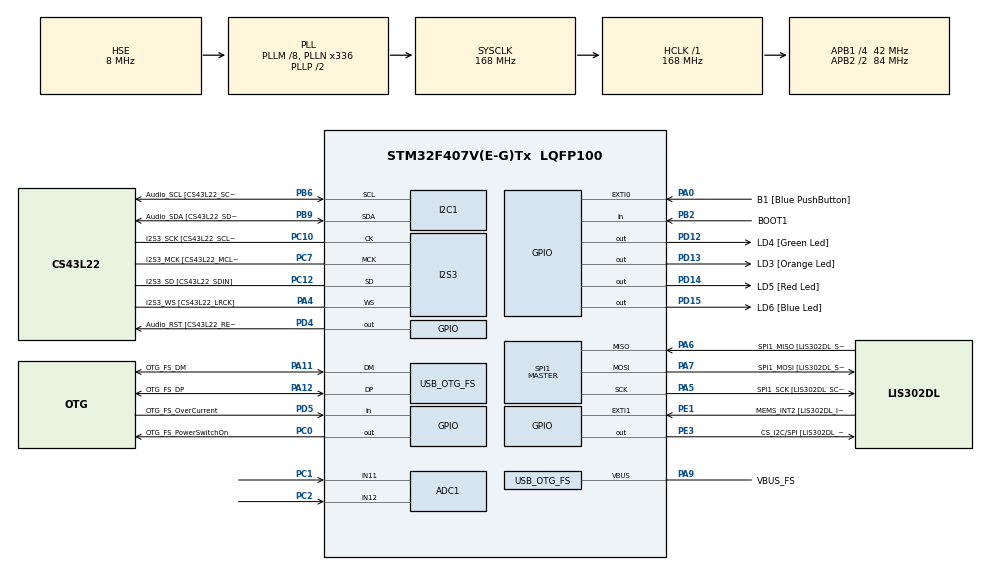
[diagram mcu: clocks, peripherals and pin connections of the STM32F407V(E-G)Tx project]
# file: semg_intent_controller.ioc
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ADC1.Channel-0\#ChannelRegularConversion=ADC_CHANNEL_11
ADC1.Channel-2\#ChannelRegularConversion=ADC_CHANNEL_12
ADC1.DMAContinuousRequests=ENABLE
ADC1.EOCSelection=ADC_EOC_SEQ_CONV
ADC1.ExternalTrigConv=ADC_EXTERNALTRIGCONV_T2_TRGO
ADC1.NbrOfConversion=2
ADC1.NbrOfConversionFlag=1
ADC1.Rank-2\#ChannelRegularConversion=2
ADC1.SamplingTime-0\#ChannelRegularConversion=ADC_SAMPLETIME_84CYCLES
ADC1.SamplingTime-2\#ChannelRegularConversion=ADC_SAMPLETIME_84CYCLES
ADC1.ScanConvMode=ENABLE
ADC1.master=1
Dma.ADC1.0.Direction=DMA_PERIPH_TO_MEMORY
Dma.ADC1.0.FIFOMode=DMA_FIFOMODE_DISABLE
Dma.ADC1.0.Instance=DMA2_Stream0
Dma.ADC1.0.MemDataAlignment=DMA_MDATAALIGN_HALFWORD
Dma.ADC1.0.MemInc=DMA_MINC_ENABLE
Dma.ADC1.0.Mode=DMA_CIRCULAR
Dma.ADC1.0.PeriphDataAlignment=DMA_PDATAALIGN_HALFWORD
Dma.ADC1.0.PeriphInc=DMA_PINC_DISABLE
Dma.ADC1.0.Priority=DMA_PRIORITY_HIGH
Dma.Request0=ADC1
I2S3.AudioFreq-Half_Duplex_Master=I2S_AUDIOFREQ_96K
I2S3.ErrorAudioFreq=-2.34 %
I2S3.ErrorAudioFreq-Half_Duplex_Master=0.8 %
I2S3.FullDuplexMode=I2S_FULLDUPLEXMODE_DISABLE
I2S3.Instance=SPI$Index
I2S3.RealAudioFreq=93.75 KHz
I2S3.RealAudioFreq-Half_Duplex_Master=96.774 KHz
I2S3.VirtualMode=I2S_MODE_MASTER
Mcu.Family=STM32F4
Mcu.Name=STM32F407V(E-G)Tx
Mcu.Package=LQFP100
NVIC.DMA2_Stream0_IRQn=true\:0\:0\:false\:false\:true\:false\:true\:true
NVIC.OTG_FS_IRQn=true\:0\:0\:false\:false\:true\:true\:true\:true
NVIC.PriorityGroup=NVIC_PRIORITYGROUP_0
PA0-WKUP.GPIO_Label=B1 [Blue PushButton]
PA0-WKUP.GPIO_ModeDefaultEXTI=GPIO_MODE_EVT_RISING
PA0-WKUP.GPIO_PuPd=GPIO_NOPULL
PA0-WKUP.Signal=GPXTI0
PA10.GPIO_Label=OTG_FS_ID
PA10.GPIO_Mode=GPIO_MODE_AF_PP
PA10.GPIO_PuPd=GPIO_NOPULL
PA10.GPIO_Speed=GPIO_SPEED_FREQ_LOW
PA10.Signal=USB_OTG_FS_ID
PA11.GPIO_Label=OTG_FS_DM
PA11.GPIO_Mode=GPIO_MODE_AF_PP
PA11.GPIO_PuPd=GPIO_NOPULL
PA11.GPIO_Speed=GPIO_SPEED_FREQ_LOW
PA11.Mode=Device_Only
PA11.Signal=USB_OTG_FS_DM
PA12.GPIO_Label=OTG_FS_DP
PA12.GPIO_Mode=GPIO_MODE_AF_PP
PA12.GPIO_PuPd=GPIO_NOPULL
PA12.GPIO_Speed=GPIO_SPEED_FREQ_LOW
PA12.Mode=Device_Only
PA12.Signal=USB_OTG_FS_DP
PA13.GPIO_Label=SWDIO
PA13.Mode=Serial_Wire
PA13.Signal=SYS_JTMS-SWDIO
PA14.GPIO_Label=SWCLK
PA14.Mode=Serial_Wire
PA14.Signal=SYS_JTCK-SWCLK
PA4.GPIO_Label=I2S3_WS [CS43L22_LRCK]
PA4.GPIO_Mode=GPIO_MODE_AF_PP
PA4.GPIO_PuPd=GPIO_NOPULL
PA4.GPIO_Speed=GPIO_SPEED_FREQ_LOW
PA4.Mode=Half_Duplex_Master
PA4.Signal=I2S3_WS
PA5.GPIO_Label=SPI1_SCK [LIS302DL_SCL/SPC]
PA5.GPIO_Mode=GPIO_MODE_AF_PP
PA5.GPIO_PuPd=GPIO_NOPULL
PA5.GPIO_Speed=GPIO_SPEED_FREQ_LOW
PA5.Mode=Full_Duplex_Master
PA5.Signal=SPI1_SCK
PA6.GPIO_Label=SPI1_MISO [LIS302DL_SDO]
PA6.GPIO_Mode=GPIO_MODE_AF_PP
PA6.GPIO_PuPd=GPIO_NOPULL
PA6.GPIO_Speed=GPIO_SPEED_FREQ_LOW
PA6.Mode=Full_Duplex_Master
PA6.Signal=SPI1_MISO
PA7.GPIO_Label=SPI1_MOSI [LIS302DL_SDA/SDI/SDO]
PA7.GPIO_Mode=GPIO_MODE_AF_PP
PA7.GPIO_PuPd=GPIO_NOPULL
PA7.GPIO_Speed=GPIO_SPEED_FREQ_LOW
PA7.Mode=Full_Duplex_Master
PA7.Signal=SPI1_MOSI
PA9.GPIO_Label=VBUS_FS
PA9.GPIO_Mode=GPIO_MODE_INPUT
PA9.GPIO_PuPd=GPIO_NOPULL
PA9.Mode=Activate_VBUS
PA9.Signal=USB_OTG_FS_VBUS
PB10.GPIO_Label=CLK_IN [MP45DT02_CLK]
PB10.GPIO_Mode=GPIO_MODE_AF_PP
PB10.GPIO_PuPd=GPIO_NOPULL
PB10.GPIO_Speed=GPIO_SPEED_FREQ_LOW
PB10.Signal=I2S2_CK
PB2.GPIO_Label=BOOT1
PB2.GPIO_Mode=GPIO_MODE_INPUT
PB2.GPIO_PuPd=GPIO_NOPULL
PB2.Signal=GPIO_Input
PB3.GPIO_Label=SWO
PB3.Signal=SYS_JTDO-SWO
PB6.GPIO_Label=Audio_SCL [CS43L22_SCL]
PB6.GPIO_Mode=GPIO_MODE_AF_OD
PB6.GPIO_Pu=GPIO_PULLUP
PB6.GPIO_PuPd=GPIO_NOPULL
PB6.GPIO_Speed=GPIO_SPEED_FREQ_LOW
PB6.Mode=I2C
PB6.Signal=I2C1_SCL
PB9.GPIO_Label=Audio_SDA [CS43L22_SDA]
PB9.GPIO_Mode=GPIO_MODE_AF_OD
PB9.GPIO_Pu=GPIO_PULLUP
PB9.GPIO_PuPd=GPIO_NOPULL
PB9.GPIO_Speed=GPIO_SPEED_FREQ_LOW
PB9.Mode=I2C
PB9.Signal=I2C1_SDA
PC0.GPIO_Label=OTG_FS_PowerSwitchOn
PC0.GPIO_PuPd=GPIO_NOPULL
PC0.GPIO_Speed=GPIO_SPEED_FREQ_LOW
PC0.PinState=GPIO_PIN_SET
PC0.Signal=GPIO_Output
PC1.Signal=ADCx_IN11
PC10.GPIO_Label=I2S3_SCK [CS43L22_SCLK]
PC10.GPIO_Mode=GPIO_MODE_AF_PP
PC10.GPIO_PuPd=GPIO_NOPULL
PC10.GPIO_Speed=GPIO_SPEED_FREQ_LOW
PC10.Mode=Half_Duplex_Master
PC10.Signal=I2S3_CK
PC12.GPIO_Label=I2S3_SD [CS43L22_SDIN]
PC12.GPIO_Mode=GPIO_MODE_AF_PP
PC12.GPIO_PuPd=GPIO_NOPULL
PC12.GPIO_Speed=GPIO_SPEED_FREQ_LOW
PC12.Mode=Half_Duplex_Master
PC12.Signal=I2S3_SD
PC14-OSC32_IN.GPIO_Label=PC14-OSC32_IN
PC14-OSC32_IN.Mode=LSE-External-Oscillator
PC14-OSC32_IN.Signal=RCC_OSC32_IN
PC15-OSC32_OUT.GPIO_Label=PC15-OSC32_OUT
PC15-OSC32_OUT.Mode=LSE-External-Oscillator
PC15-OSC32_OUT.Signal=RCC_OSC32_OUT
PC2.Signal=ADCx_IN12
PC3.GPIO_Label=PDM_OUT [MP45DT02_DOUT]
PC3.GPIO_Mode=GPIO_MODE_AF_PP
PC3.GPIO_PuPd=GPIO_NOPULL
PC3.GPIO_Speed=GPIO_SPEED_FREQ_LOW
PC3.Signal=I2S2_SD
PC7.GPIO_Label=I2S3_MCK [CS43L22_MCLK]
PC7.GPIO_Mode=GPIO_MODE_AF_PP
PC7.GPIO_PuPd=GPIO_NOPULL
PC7.GPIO_Speed=GPIO_SPEED_FREQ_LOW
PC7.Mode=Master_Clock_Activated
PC7.Signal=I2S3_MCK
PD12.GPIO_Label=LD4 [Green Led]
PD12.GPIO_PuPd=GPIO_NOPULL
PD12.GPIO_Speed=GPIO_SPEED_FREQ_LOW
PD12.Signal=GPIO_Output
PD13.GPIO_Label=LD3 [Orange Led]
PD13.GPIO_PuPd=GPIO_NOPULL
PD13.GPIO_Speed=GPIO_SPEED_FREQ_LOW
PD13.Signal=GPIO_Output
PD14.GPIO_Label=LD5 [Red Led]
PD14.GPIO_PuPd=GPIO_NOPULL
PD14.GPIO_Speed=GPIO_SPEED_FREQ_LOW
PD14.Signal=GPIO_Output
PD15.GPIO_Label=LD6 [Blue Led]
PD15.GPIO_PuPd=GPIO_NOPULL
PD15.GPIO_Speed=GPIO_SPEED_FREQ_LOW
PD15.Signal=GPIO_Output
PD4.GPIO_Label=Audio_RST [CS43L22_RESET]
PD4.GPIO_PuPd=GPIO_NOPULL
PD4.GPIO_Speed=GPIO_SPEED_FREQ_LOW
PD4.Signal=GPIO_Output
PD5.GPIO_Label=OTG_FS_OverCurrent
PD5.GPIO_Mode=GPIO_MODE_INPUT
PD5.GPIO_PuPd=GPIO_NOPULL
PD5.Signal=GPIO_Input
PE1.GPIO_Label=MEMS_INT2 [LIS302DL_INT2]
PE1.GPIO_ModeDefaultEXTI=GPIO_MODE_EVT_RISING
PE1.GPIO_PuPd=GPIO_NOPULL
PE1.Signal=GPXTI1
PE3.GPIO_Label=CS_I2C/SPI [LIS302DL_CS_I2C/SPI]
PE3.GPIO_PuPd=GPIO_NOPULL
PE3.GPIO_Speed=GPIO_SPEED_FREQ_LOW
PE3.Signal=GPIO_Output
PH0-OSC_IN.GPIO_Label=PH0-OSC_IN
PH0-OSC_IN.Mode=HSE-External-Oscillator
PH0-OSC_IN.Signal=RCC_OSC_IN
PH1-OSC_OUT.GPIO_Label=PH1-OSC_OUT
PH1-OSC_OUT.Mode=HSE-External-Oscillator
PH1-OSC_OUT.Signal=RCC_OSC_OUT
ProjectManager.HeapSize=0x200
ProjectManager.StackSize=0x400
ProjectManager.TargetToolchain=STM32CubeIDE
RCC.48MHZClocksFreq_Value=48000000
RCC.AHBFreq_Value=168000000
RCC.APB1CLKDivider=RCC_HCLK_DIV4
RCC.APB1Freq_Value=42000000
RCC.APB1TimFreq_Value=84000000
RCC.APB2CLKDivider=RCC_HCLK_DIV2
RCC.APB2Freq_Value=84000000
RCC.APB2TimFreq_Value=168000000
RCC.CortexFreq_Value=168000000
RCC.HCLKFreq_Value=168000000
RCC.HSE_VALUE=8000000
RCC.HSI_VALUE=16000000
RCC.PLLM=8
RCC.PLLN=336
RCC.PLLQ=7
RCC.SYSCLKFreq_VALUE=168000000
RCC.SYSCLKSource=RCC_SYSCLKSOURCE_PLLCLK
RCC.VCOOutputFreq_Value=336000000
SH.ADCx_IN11.0=ADC1_IN11,IN11
SH.ADCx_IN12.0=ADC1_IN12,IN12
SPI1.BaudRatePrescaler-Full_Duplex_Master=SPI_BAUDRATEPRESCALER_2
SPI1.CalculateBaudRate-Full_Duplex_Master=42.0 MBits/s
SPI1.Direction=SPI_DIRECTION_2LINES
SPI1.Mode=SPI_MODE_MASTER
SPI1.Mode-Full_Duplex_Master=SPI_MODE_MASTER
SPI1.VirtualType=VM_MASTER
TIM2.Period=999
TIM2.Prescaler=83
TIM2.TIM_MasterOutputTrigger=TIM_TRGO_UPDATE
USB_DEVICE.CLASS_NAME_FS=CDC
USB_DEVICE.VirtualMode-CDC_FS=Cdc
USB_DEVICE.VirtualModeFS=Cdc_FS
USB_OTG_FS.VirtualMode=Device_Only
VP_TIM2_VS_ClockSourceINT.Mode=Internal
VP_USB_DEVICE_VS_USB_DEVICE_CDC_FS.Mode=CDC_FS
board=STM32F407G-DISC1

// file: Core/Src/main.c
/* USER CODE BEGIN Header */
/**
  ******************************************************************************
  * @file           : main.c
  * @brief          : Main program body
  ******************************************************************************
  * @attention
  *
  * Copyright (c) 2026 STMicroelectronics.
  * All rights reserved.
  *
  * This software is licensed under terms that can be found in the LICENSE file
  * in the root directory of this software component.
  * If no LICENSE file comes with this software, it is provided AS-IS.
  *
  ******************************************************************************
  */
/* USER CODE END Header */
#include "main.h"
#include "usb_device.h"

/* USER CODE BEGIN Includes */
#include <stdio.h>
#include "usbd_cdc_if.h"
#include "semg_classifier.h"

/* USER CODE END Includes */

/* USER CODE BEGIN PD */
#define ADC_CHANNEL_COUNT 2U
#define SAMPLES_PER_HALF 50U

#define ADC_DMA_VALUE_COUNT \
    (ADC_CHANNEL_COUNT * SAMPLES_PER_HALF * 2U)

/* USER CODE END PD */

ADC_HandleTypeDef hadc1;
DMA_HandleTypeDef hdma_adc1;

I2C_HandleTypeDef hi2c1;

I2S_HandleTypeDef hi2s3;

SPI_HandleTypeDef hspi1;

TIM_HandleTypeDef htim2;

/* USER CODE BEGIN PV */
static uint16_t adc_dma_buffer[ADC_DMA_VALUE_COUNT]
    __attribute__((aligned(4)));

static volatile uint8_t first_half_ready = 0U;
static volatile uint8_t second_half_ready = 0U;

static SEMG_Class pending_prediction =
    SEMG_CLASS_UNKNOWN;

static uint8_t prediction_pending = 0U;

static char usb_tx_buffer[64];

/* USER CODE END PV */

void SystemClock_Config(void);
static void MX_GPIO_Init(void);
static void MX_DMA_Init(void);
static void MX_I2C1_Init(void);
static void MX_I2S3_Init(void);
static void MX_SPI1_Init(void);
static void MX_ADC1_Init(void);
static void MX_TIM2_Init(void);
/* USER CODE BEGIN PFP */
static void process_sample_block(
    uint32_t start_index
);

static void try_transmit_prediction(void);

/* USER CODE END PFP */

int main(void)
{

  /* MCU Configuration--------------------------------------------------------*/

  /* Reset of all peripherals, Initializes the Flash interface and the Systick. */
  HAL_Init();

  /* Configure the system clock */
  SystemClock_Config();

  /* Initialize all configured peripherals */
  MX_GPIO_Init();
  MX_DMA_Init();
  MX_I2C1_Init();
  MX_I2S3_Init();
  MX_SPI1_Init();
  MX_ADC1_Init();
  MX_TIM2_Init();
  MX_USB_DEVICE_Init();
  /* USER CODE BEGIN 2 */
  SEMG_Classifier_Init();

  if (
      HAL_ADC_Start_DMA(
          &hadc1,
          (uint32_t *)adc_dma_buffer,
          ADC_DMA_VALUE_COUNT
      )
      != HAL_OK
  )
  {
      Error_Handler();
  }

  if (HAL_TIM_Base_Start(&htim2) != HAL_OK)
  {
      Error_Handler();
  }

  /* USER CODE END 2 */

  /* Infinite loop */
  /* USER CODE BEGIN WHILE */
  while (1)
  {
	  if (first_half_ready != 0U)
	  {
	      first_half_ready = 0U;
          process_sample_block(0U);
	  }

	  if (second_half_ready != 0U)
	  {
	      second_half_ready = 0U;

	      process_sample_block(ADC_DMA_VALUE_COUNT / 2U);
	  }

      try_transmit_prediction();

    /* USER CODE END WHILE */

  }
}

void SystemClock_Config(void)
{
  RCC_OscInitTypeDef RCC_OscInitStruct = {0};
  RCC_ClkInitTypeDef RCC_ClkInitStruct = {0};

  /** Configure the main internal regulator output voltage
  */
  __HAL_RCC_PWR_CLK_ENABLE();
  __HAL_PWR_VOLTAGESCALING_CONFIG(PWR_REGULATOR_VOLTAGE_SCALE1);

  /** Initializes the RCC Oscillators according to the specified parameters
  * in the RCC_OscInitTypeDef structure.
  */
  RCC_OscInitStruct.OscillatorType = RCC_OSCILLATORTYPE_HSE;
  RCC_OscInitStruct.HSEState = RCC_HSE_ON;
  RCC_OscInitStruct.PLL.PLLState = RCC_PLL_ON;
  RCC_OscInitStruct.PLL.PLLSource = RCC_PLLSOURCE_HSE;
  RCC_OscInitStruct.PLL.PLLM = 8;
  RCC_OscInitStruct.PLL.PLLN = 336;
  RCC_OscInitStruct.PLL.PLLP = RCC_PLLP_DIV2;
  RCC_OscInitStruct.PLL.PLLQ = 7;
  if (HAL_RCC_OscConfig(&RCC_OscInitStruct) != HAL_OK)
  {
    Error_Handler();
  }

  /** Initializes the CPU, AHB and APB buses clocks
  */
  RCC_ClkInitStruct.ClockType = RCC_CLOCKTYPE_HCLK|RCC_CLOCKTYPE_SYSCLK
                              |RCC_CLOCKTYPE_PCLK1|RCC_CLOCKTYPE_PCLK2;
  RCC_ClkInitStruct.SYSCLKSource = RCC_SYSCLKSOURCE_PLLCLK;
  RCC_ClkInitStruct.AHBCLKDivider = RCC_SYSCLK_DIV1;
  RCC_ClkInitStruct.APB1CLKDivider = RCC_HCLK_DIV4;
  RCC_ClkInitStruct.APB2CLKDivider = RCC_HCLK_DIV2;

  if (HAL_RCC_ClockConfig(&RCC_ClkInitStruct, FLASH_LATENCY_5) != HAL_OK)
  {
    Error_Handler();
  }
}

static void MX_ADC1_Init(void)
{

  ADC_ChannelConfTypeDef sConfig = {0};

  /** Configure the global features of the ADC (Clock, Resolution, Data Alignment and number of conversion)
  */
  hadc1.Instance = ADC1;
  hadc1.Init.ClockPrescaler = ADC_CLOCK_SYNC_PCLK_DIV4;
  hadc1.Init.Resolution = ADC_RESOLUTION_12B;
  hadc1.Init.ScanConvMode = ENABLE;
  hadc1.Init.ContinuousConvMode = DISABLE;
  hadc1.Init.DiscontinuousConvMode = DISABLE;
  hadc1.Init.ExternalTrigConvEdge = ADC_EXTERNALTRIGCONVEDGE_RISING;
  hadc1.Init.ExternalTrigConv = ADC_EXTERNALTRIGCONV_T2_TRGO;
  hadc1.Init.DataAlign = ADC_DATAALIGN_RIGHT;
  hadc1.Init.NbrOfConversion = 2;
  hadc1.Init.DMAContinuousRequests = ENABLE;
  hadc1.Init.EOCSelection = ADC_EOC_SEQ_CONV;
  if (HAL_ADC_Init(&hadc1) != HAL_OK)
  {
    Error_Handler();
  }

  /** Configure for the selected ADC regular channel its corresponding rank in the sequencer and its sample time.
  */
  sConfig.Channel = ADC_CHANNEL_11;
  sConfig.Rank = 1;
  sConfig.SamplingTime = ADC_SAMPLETIME_84CYCLES;
  if (HAL_ADC_ConfigChannel(&hadc1, &sConfig) != HAL_OK)
  {
    Error_Handler();
  }

  /** Configure for the selected ADC regular channel its corresponding rank in the sequencer and its sample time.
  */
  sConfig.Channel = ADC_CHANNEL_12;
  sConfig.Rank = 2;
  if (HAL_ADC_ConfigChannel(&hadc1, &sConfig) != HAL_OK)
  {
    Error_Handler();
  }

}

static void MX_I2C1_Init(void)
{

  hi2c1.Instance = I2C1;
  hi2c1.Init.ClockSpeed = 100000;
  hi2c1.Init.DutyCycle = I2C_DUTYCYCLE_2;
  hi2c1.Init.OwnAddress1 = 0;
  hi2c1.Init.AddressingMode = I2C_ADDRESSINGMODE_7BIT;
  hi2c1.Init.DualAddressMode = I2C_DUALADDRESS_DISABLE;
  hi2c1.Init.OwnAddress2 = 0;
  hi2c1.Init.GeneralCallMode = I2C_GENERALCALL_DISABLE;
  hi2c1.Init.NoStretchMode = I2C_NOSTRETCH_DISABLE;
  if (HAL_I2C_Init(&hi2c1) != HAL_OK)
  {
    Error_Handler();
  }

}

static void MX_I2S3_Init(void)
{

  hi2s3.Instance = SPI3;
  hi2s3.Init.Mode = I2S_MODE_MASTER_TX;
  hi2s3.Init.Standard = I2S_STANDARD_PHILIPS;
  hi2s3.Init.DataFormat = I2S_DATAFORMAT_16B;
  hi2s3.Init.MCLKOutput = I2S_MCLKOUTPUT_ENABLE;
  hi2s3.Init.AudioFreq = I2S_AUDIOFREQ_96K;
  hi2s3.Init.CPOL = I2S_CPOL_LOW;
  hi2s3.Init.ClockSource = I2S_CLOCK_PLL;
  hi2s3.Init.FullDuplexMode = I2S_FULLDUPLEXMODE_DISABLE;
  if (HAL_I2S_Init(&hi2s3) != HAL_OK)
  {
    Error_Handler();
  }

}

static void MX_SPI1_Init(void)
{

  /* SPI1 parameter configuration*/
  hspi1.Instance = SPI1;
  hspi1.Init.Mode = SPI_MODE_MASTER;
  hspi1.Init.Direction = SPI_DIRECTION_2LINES;
  hspi1.Init.DataSize = SPI_DATASIZE_8BIT;
  hspi1.Init.CLKPolarity = SPI_POLARITY_LOW;
  hspi1.Init.CLKPhase = SPI_PHASE_1EDGE;
  hspi1.Init.NSS = SPI_NSS_SOFT;
  hspi1.Init.BaudRatePrescaler = SPI_BAUDRATEPRESCALER_2;
  hspi1.Init.FirstBit = SPI_FIRSTBIT_MSB;
  hspi1.Init.TIMode = SPI_TIMODE_DISABLE;
  hspi1.Init.CRCCalculation = SPI_CRCCALCULATION_DISABLE;
  hspi1.Init.CRCPolynomial = 10;
  if (HAL_SPI_Init(&hspi1) != HAL_OK)
  {
    Error_Handler();
  }

}

static void MX_TIM2_Init(void)
{

  TIM_ClockConfigTypeDef sClockSourceConfig = {0};
  TIM_MasterConfigTypeDef sMasterConfig = {0};

  htim2.Instance = TIM2;
  htim2.Init.Prescaler = 83;
  htim2.Init.CounterMode = TIM_COUNTERMODE_UP;
  htim2.Init.Period = 999;
  htim2.Init.ClockDivision = TIM_CLOCKDIVISION_DIV1;
  htim2.Init.AutoReloadPreload = TIM_AUTORELOAD_PRELOAD_DISABLE;
  if (HAL_TIM_Base_Init(&htim2) != HAL_OK)
  {
    Error_Handler();
  }
  sClockSourceConfig.ClockSource = TIM_CLOCKSOURCE_INTERNAL;
  if (HAL_TIM_ConfigClockSource(&htim2, &sClockSourceConfig) != HAL_OK)
  {
    Error_Handler();
  }
  sMasterConfig.MasterOutputTrigger = TIM_TRGO_UPDATE;
  sMasterConfig.MasterSlaveMode = TIM_MASTERSLAVEMODE_DISABLE;
  if (HAL_TIMEx_MasterConfigSynchronization(&htim2, &sMasterConfig) != HAL_OK)
  {
    Error_Handler();
  }

}

static void MX_DMA_Init(void)
{

  /* DMA controller clock enable */
  __HAL_RCC_DMA2_CLK_ENABLE();

  /* DMA interrupt init */
  /* DMA2_Stream0_IRQn interrupt configuration */
  HAL_NVIC_SetPriority(DMA2_Stream0_IRQn, 0, 0);
  HAL_NVIC_EnableIRQ(DMA2_Stream0_IRQn);

}

static void MX_GPIO_Init(void)
{
  GPIO_InitTypeDef GPIO_InitStruct = {0};

  /* GPIO Ports Clock Enable */
  __HAL_RCC_GPIOE_CLK_ENABLE();
  __HAL_RCC_GPIOC_CLK_ENABLE();
  __HAL_RCC_GPIOH_CLK_ENABLE();
  __HAL_RCC_GPIOA_CLK_ENABLE();
  __HAL_RCC_GPIOB_CLK_ENABLE();
  __HAL_RCC_GPIOD_CLK_ENABLE();

  /*Configure GPIO pin Output Level */
  HAL_GPIO_WritePin(CS_I2C_SPI_GPIO_Port, CS_I2C_SPI_Pin, GPIO_PIN_RESET);

  /*Configure GPIO pin Output Level */
  HAL_GPIO_WritePin(OTG_FS_PowerSwitchOn_GPIO_Port, OTG_FS_PowerSwitchOn_Pin, GPIO_PIN_SET);

  /*Configure GPIO pin Output Level */
  HAL_GPIO_WritePin(GPIOD, LD4_Pin|LD3_Pin|LD5_Pin|LD6_Pin
                          |Audio_RST_Pin, GPIO_PIN_RESET);

  /*Configure GPIO pin : CS_I2C_SPI_Pin */
  GPIO_InitStruct.Pin = CS_I2C_SPI_Pin;
  GPIO_InitStruct.Mode = GPIO_MODE_OUTPUT_PP;
  GPIO_InitStruct.Pull = GPIO_NOPULL;
  GPIO_InitStruct.Speed = GPIO_SPEED_FREQ_LOW;
  HAL_GPIO_Init(CS_I2C_SPI_GPIO_Port, &GPIO_InitStruct);

  /*Configure GPIO pin : OTG_FS_PowerSwitchOn_Pin */
  GPIO_InitStruct.Pin = OTG_FS_PowerSwitchOn_Pin;
  GPIO_InitStruct.Mode = GPIO_MODE_OUTPUT_PP;
  GPIO_InitStruct.Pull = GPIO_NOPULL;
  GPIO_InitStruct.Speed = GPIO_SPEED_FREQ_LOW;
  HAL_GPIO_Init(OTG_FS_PowerSwitchOn_GPIO_Port, &GPIO_InitStruct);

  /*Configure GPIO pin : PDM_OUT_Pin */
  GPIO_InitStruct.Pin = PDM_OUT_Pin;
  GPIO_InitStruct.Mode = GPIO_MODE_AF_PP;
  GPIO_InitStruct.Pull = GPIO_NOPULL;
  GPIO_InitStruct.Speed = GPIO_SPEED_FREQ_LOW;
  GPIO_InitStruct.Alternate = GPIO_AF5_SPI2;
  HAL_GPIO_Init(PDM_OUT_GPIO_Port, &GPIO_InitStruct);

  /*Configure GPIO pin : B1_Pin */
  GPIO_InitStruct.Pin = B1_Pin;
  GPIO_InitStruct.Mode = GPIO_MODE_EVT_RISING;
  GPIO_InitStruct.Pull = GPIO_NOPULL;
  HAL_GPIO_Init(B1_GPIO_Port, &GPIO_InitStruct);

  /*Configure GPIO pin : BOOT1_Pin */
  GPIO_InitStruct.Pin = BOOT1_Pin;
  GPIO_InitStruct.Mode = GPIO_MODE_INPUT;
  GPIO_InitStruct.Pull = GPIO_NOPULL;
  HAL_GPIO_Init(BOOT1_GPIO_Port, &GPIO_InitStruct);

  /*Configure GPIO pin : CLK_IN_Pin */
  GPIO_InitStruct.Pin = CLK_IN_Pin;
  GPIO_InitStruct.Mode = GPIO_MODE_AF_PP;
  GPIO_InitStruct.Pull = GPIO_NOPULL;
  GPIO_InitStruct.Speed = GPIO_SPEED_FREQ_LOW;
  GPIO_InitStruct.Alternate = GPIO_AF5_SPI2;
  HAL_GPIO_Init(CLK_IN_GPIO_Port, &GPIO_InitStruct);

  /*Configure GPIO pins : LD4_Pin LD3_Pin LD5_Pin LD6_Pin
                           Audio_RST_Pin */
  GPIO_InitStruct.Pin = LD4_Pin|LD3_Pin|LD5_Pin|LD6_Pin
                          |Audio_RST_Pin;
  GPIO_InitStruct.Mode = GPIO_MODE_OUTPUT_PP;
  GPIO_InitStruct.Pull = GPIO_NOPULL;
  GPIO_InitStruct.Speed = GPIO_SPEED_FREQ_LOW;
  HAL_GPIO_Init(GPIOD, &GPIO_InitStruct);

  /*Configure GPIO pin : OTG_FS_OverCurrent_Pin */
  GPIO_InitStruct.Pin = OTG_FS_OverCurrent_Pin;
  GPIO_InitStruct.Mode = GPIO_MODE_INPUT;
  GPIO_InitStruct.Pull = GPIO_NOPULL;
  HAL_GPIO_Init(OTG_FS_OverCurrent_GPIO_Port, &GPIO_InitStruct);

  /*Configure GPIO pin : MEMS_INT2_Pin */
  GPIO_InitStruct.Pin = MEMS_INT2_Pin;
  GPIO_InitStruct.Mode = GPIO_MODE_EVT_RISING;
  GPIO_InitStruct.Pull = GPIO_NOPULL;
  HAL_GPIO_Init(MEMS_INT2_GPIO_Port, &GPIO_InitStruct);

}

/* USER CODE BEGIN 4 */
void HAL_ADC_ConvHalfCpltCallback(
    ADC_HandleTypeDef *hadc
)
{
    if (hadc->Instance == ADC1)
    {
        first_half_ready = 1U;
    }
}

void HAL_ADC_ConvCpltCallback(
    ADC_HandleTypeDef *hadc
)
{
    if (hadc->Instance == ADC1)
    {
        second_half_ready = 1U;
    }
}

static void process_sample_block(
    uint32_t start_index
)
{
    for (
        uint32_t sample = 0U;
        sample < SAMPLES_PER_HALF;
        sample++
    )
    {
        uint32_t buffer_index =
            start_index
            + sample * ADC_CHANNEL_COUNT;

        SEMG_Class new_prediction;

        bool prediction_changed =
            SEMG_Classifier_AddSample(
                adc_dma_buffer[
                    buffer_index
                ],
                adc_dma_buffer[
                    buffer_index + 1U
                ],
                &new_prediction
            );

        if (prediction_changed)
        {
            pending_prediction =
                new_prediction;

            prediction_pending = 1U;
        }
    }
}

static void try_transmit_prediction(void)
{
    if (prediction_pending == 0U)
    {
        return;
    }

    int written = snprintf(
        usb_tx_buffer,
        sizeof(usb_tx_buffer),
        "SEMG,%s\r\n",
        SEMG_ClassName(
            pending_prediction
        )
    );

    if (
        written <= 0
        || written
            >= (int)sizeof(usb_tx_buffer)
    )
    {
        prediction_pending = 0U;
        return;
    }

    if (
        CDC_Transmit_FS(
            (uint8_t *)usb_tx_buffer,
            (uint16_t)written
        )
        == USBD_OK
    )
    {
        prediction_pending = 0U;
    }
}

/* USER CODE END 4 */

void Error_Handler(void)
{
  __disable_irq();
  while (1)
  {
  }
}
